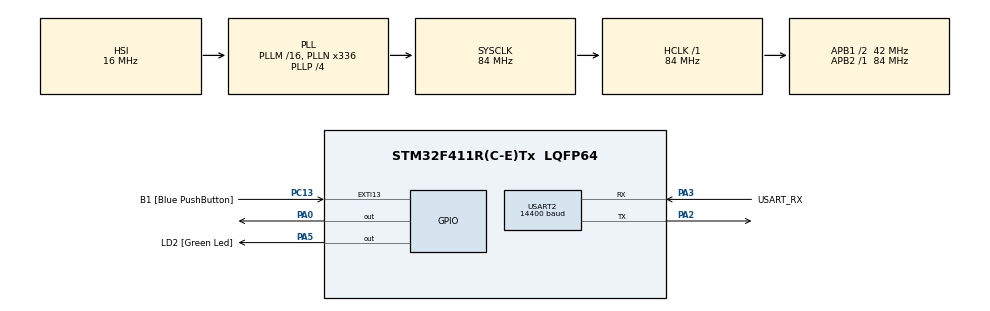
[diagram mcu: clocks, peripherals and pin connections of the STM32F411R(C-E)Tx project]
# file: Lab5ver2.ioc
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Mcu.Family=STM32F4
Mcu.Name=STM32F411R(C-E)Tx
Mcu.Package=LQFP64
NVIC.EXTI15_10_IRQn=true\:0\:0\:false\:false\:true\:true\:true\:true
NVIC.PriorityGroup=NVIC_PRIORITYGROUP_0
NVIC.USART2_IRQn=true\:0\:0\:false\:false\:true\:true\:true\:true
PA0-WKUP.Signal=GPIO_Output
PA13.GPIO_Label=TMS
PA13.Mode=Serial_Wire
PA13.Signal=SYS_JTMS-SWDIO
PA14.GPIO_Label=TCK
PA14.Mode=Serial_Wire
PA14.Signal=SYS_JTCK-SWCLK
PA2.Mode=Asynchronous
PA2.Signal=USART2_TX
PA3.GPIO_Label=USART_RX
PA3.Mode=Asynchronous
PA3.Signal=USART2_RX
PA5.GPIO_Label=LD2 [Green Led]
PA5.Signal=GPIO_Output
PB3.GPIO_Label=SWO
PB3.Signal=SYS_JTDO-SWO
PC13-ANTI_TAMP.GPIO_Label=B1 [Blue PushButton]
PC13-ANTI_TAMP.GPIO_ModeDefaultEXTI=GPIO_MODE_IT_RISING_FALLING
PC13-ANTI_TAMP.Signal=GPXTI13
PC14-OSC32_IN.Mode=LSE-External-Oscillator
PC14-OSC32_IN.Signal=RCC_OSC32_IN
PC15-OSC32_OUT.Mode=LSE-External-Oscillator
PC15-OSC32_OUT.Signal=RCC_OSC32_OUT
PH0\ -\ OSC_IN.Mode=HSE-External-Clock-Source
PH0\ -\ OSC_IN.Signal=RCC_OSC_IN
PH1\ -\ OSC_OUT.Mode=HSE-External-Clock-Source
PH1\ -\ OSC_OUT.Signal=RCC_OSC_OUT
ProjectManager.HeapSize=0x200
ProjectManager.StackSize=0x400
ProjectManager.TargetToolchain=STM32CubeIDE
RCC.48MHZClocksFreq_Value=84000000
RCC.AHBFreq_Value=84000000
RCC.APB1CLKDivider=RCC_HCLK_DIV2
RCC.APB1Freq_Value=42000000
RCC.APB1TimFreq_Value=84000000
RCC.APB2Freq_Value=84000000
RCC.APB2TimFreq_Value=84000000
RCC.CortexFreq_Value=84000000
RCC.FLatency-AdvancedSettings=FLASH_LATENCY_2
RCC.HCLKFreq_Value=84000000
RCC.HSE_VALUE=8000000
RCC.HSI_VALUE=16000000
RCC.PLLN=336
RCC.PLLP=RCC_PLLP_DIV4
RCC.SYSCLKFreq_VALUE=84000000
RCC.SYSCLKSource=RCC_SYSCLKSOURCE_PLLCLK
RCC.VCOOutputFreq_Value=336000000
USART2.BaudRate=14400
USART2.VirtualMode=VM_ASYNC
board=NUCLEO-F411RE

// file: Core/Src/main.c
/* USER CODE BEGIN Header */
/**
  ******************************************************************************
  * @file           : main.c
  * @brief          : Main program body
  ******************************************************************************
  * @attention
  *
  * Copyright (c) 2023 STMicroelectronics.
  * All rights reserved.
  *
  * This software is licensed under terms that can be found in the LICENSE file
  * in the root directory of this software component.
  * If no LICENSE file comes with this software, it is provided AS-IS.
  *
  ******************************************************************************
  */
/* USER CODE END Header */
#include "main.h"

/* USER CODE BEGIN Includes */
#include "stdio.h"
#include "string.h"
/* USER CODE END Includes */

UART_HandleTypeDef huart2;

/* USER CODE BEGIN PV */
uint8_t RxBuffer[20];
uint8_t TxBuffer[500];
int freq_value = 0;
int LEDStatus = 1;
int lala = 0;
enum  {
		 MainMenu,
		 LEDControl,
		 ButtonStatus
}state = MainMenu;
/* USER CODE END PV */

void SystemClock_Config(void);
static void MX_GPIO_Init(void);
static void MX_USART2_UART_Init(void);
/* USER CODE BEGIN PFP */
void DummyTask();
void UARTInterruptConfig();
/* USER CODE END PFP */

int main(void)
{

  /* MCU Configuration--------------------------------------------------------*/

  /* Reset of all peripherals, Initializes the Flash interface and the Systick. */
  HAL_Init();

  /* Configure the system clock */
  SystemClock_Config();

  /* Initialize all configured peripherals */
  MX_GPIO_Init();
  MX_USART2_UART_Init();
  /* USER CODE BEGIN 2 */
//  uint8_t text[] = "HELLO FIBO";
//  HAL_UART_Transmit(&huart2, text , 11, 10);
  UARTInterruptConfig();
  sprintf((char*)TxBuffer,"=======================================================\r\n"
		  "Welcome to LED and Button Control System\r\n"
		  "\r\n"
  							"Please Select these functions for selecting modes \r\n"
		  "\r\n"
  							"Press 0: LED Control mode \r\n"
  							"Press 1: Button status mode \r\n"
		  	  	  	  	  	"======================================================\r\n"
  							"\r\n");
  		HAL_UART_Transmit(&huart2, TxBuffer, strlen((char*)TxBuffer),300);

  /* USER CODE END 2 */

  /* Infinite loop */
  while (1)
  {

    /* USER CODE BEGIN 3 */
	  if (LEDStatus == 1){
		  DummyTask();
	  }
	  if (LEDStatus == 0){
	      HAL_GPIO_WritePin(LD2_GPIO_Port, LD2_Pin,0);
	  }

	  HAL_GPIO_TogglePin (GPIOA, GPIO_PIN_0);

  }

  /* USER CODE END 3 */
}

void SystemClock_Config(void)
{
  RCC_OscInitTypeDef RCC_OscInitStruct = {0};
  RCC_ClkInitTypeDef RCC_ClkInitStruct = {0};

  /** Configure the main internal regulator output voltage
  */
  __HAL_RCC_PWR_CLK_ENABLE();
  __HAL_PWR_VOLTAGESCALING_CONFIG(PWR_REGULATOR_VOLTAGE_SCALE1);

  /** Initializes the RCC Oscillators according to the specified parameters
  * in the RCC_OscInitTypeDef structure.
  */
  RCC_OscInitStruct.OscillatorType = RCC_OSCILLATORTYPE_HSI;
  RCC_OscInitStruct.HSIState = RCC_HSI_ON;
  RCC_OscInitStruct.HSICalibrationValue = RCC_HSICALIBRATION_DEFAULT;
  RCC_OscInitStruct.PLL.PLLState = RCC_PLL_ON;
  RCC_OscInitStruct.PLL.PLLSource = RCC_PLLSOURCE_HSI;
  RCC_OscInitStruct.PLL.PLLM = 16;
  RCC_OscInitStruct.PLL.PLLN = 336;
  RCC_OscInitStruct.PLL.PLLP = RCC_PLLP_DIV4;
  RCC_OscInitStruct.PLL.PLLQ = 4;
  if (HAL_RCC_OscConfig(&RCC_OscInitStruct) != HAL_OK)
  {
    Error_Handler();
  }

  /** Initializes the CPU, AHB and APB buses clocks
  */
  RCC_ClkInitStruct.ClockType = RCC_CLOCKTYPE_HCLK|RCC_CLOCKTYPE_SYSCLK
                              |RCC_CLOCKTYPE_PCLK1|RCC_CLOCKTYPE_PCLK2;
  RCC_ClkInitStruct.SYSCLKSource = RCC_SYSCLKSOURCE_PLLCLK;
  RCC_ClkInitStruct.AHBCLKDivider = RCC_SYSCLK_DIV1;
  RCC_ClkInitStruct.APB1CLKDivider = RCC_HCLK_DIV2;
  RCC_ClkInitStruct.APB2CLKDivider = RCC_HCLK_DIV1;

  if (HAL_RCC_ClockConfig(&RCC_ClkInitStruct, FLASH_LATENCY_2) != HAL_OK)
  {
    Error_Handler();
  }
}

static void MX_USART2_UART_Init(void)
{

  huart2.Instance = USART2;
  huart2.Init.BaudRate = 14400;
  huart2.Init.WordLength = UART_WORDLENGTH_8B;
  huart2.Init.StopBits = UART_STOPBITS_1;
  huart2.Init.Parity = UART_PARITY_NONE;
  huart2.Init.Mode = UART_MODE_TX_RX;
  huart2.Init.HwFlowCtl = UART_HWCONTROL_NONE;
  huart2.Init.OverSampling = UART_OVERSAMPLING_16;
  if (HAL_UART_Init(&huart2) != HAL_OK)
  {
    Error_Handler();
  }

}

static void MX_GPIO_Init(void)
{
  GPIO_InitTypeDef GPIO_InitStruct = {0};

  /* GPIO Ports Clock Enable */
  __HAL_RCC_GPIOC_CLK_ENABLE();
  __HAL_RCC_GPIOH_CLK_ENABLE();
  __HAL_RCC_GPIOA_CLK_ENABLE();
  __HAL_RCC_GPIOB_CLK_ENABLE();

  /*Configure GPIO pin Output Level */
  HAL_GPIO_WritePin(GPIOA, GPIO_PIN_0|LD2_Pin, GPIO_PIN_RESET);

  /*Configure GPIO pin : B1_Pin */
  GPIO_InitStruct.Pin = B1_Pin;
  GPIO_InitStruct.Mode = GPIO_MODE_IT_RISING_FALLING;
  GPIO_InitStruct.Pull = GPIO_NOPULL;
  HAL_GPIO_Init(B1_GPIO_Port, &GPIO_InitStruct);

  /*Configure GPIO pins : PA0 LD2_Pin */
  GPIO_InitStruct.Pin = GPIO_PIN_0|LD2_Pin;
  GPIO_InitStruct.Mode = GPIO_MODE_OUTPUT_PP;
  GPIO_InitStruct.Pull = GPIO_NOPULL;
  GPIO_InitStruct.Speed = GPIO_SPEED_FREQ_LOW;
  HAL_GPIO_Init(GPIOA, &GPIO_InitStruct);

  /* EXTI interrupt init*/
  HAL_NVIC_SetPriority(EXTI15_10_IRQn, 0, 0);
  HAL_NVIC_EnableIRQ(EXTI15_10_IRQn);

}

/* USER CODE BEGIN 4 */
void HAL_GPIO_EXTI_Callback(uint16_t GPIO_Pin)
{
	if(GPIO_Pin == GPIO_PIN_13){

		if(state == ButtonStatus && (HAL_GPIO_ReadPin(GPIOC, GPIO_PIN_13)) == 0)
		{
		sprintf((char*)TxBuffer,"----------------------------------------\r\n"
				"\r\n"
				"Status: Button is pressed \r\n"
				"\r\n"
				"----------------------------------------\r\n"
				"\r\n");
		HAL_UART_Transmit_IT(&huart2, TxBuffer, strlen((char*)TxBuffer));
		}
		if(state == ButtonStatus && (HAL_GPIO_ReadPin(GPIOC, GPIO_PIN_13)) == 1)
		{
		sprintf((char*)TxBuffer,"----------------------------------------\r\n"
				"\r\n"
				"Status: Button is not pressed \r\n"
				"\r\n"
				"----------------------------------------\r\n"
				"\r\n");

		HAL_UART_Transmit_IT(&huart2, TxBuffer, strlen((char*)TxBuffer));
		}
	}
}
void UARTInterruptConfig(){

	//start UART in interrupt mode
	HAL_UART_Receive_IT(&huart2, RxBuffer, 1);
}

void HAL_UART_RxCpltCallback(UART_HandleTypeDef *huart){
//	enum  {
//			 MainMenu,
//			 LEDControl,
//			 ButtonStatus
//	}state = MainMenu;
	if(huart == &huart2){

		// (for only string) Add String stop symbol \0 to end string
		RxBuffer[1] = '\0';
		//return receive char
		switch (state) {
		   case MainMenu:
				if(RxBuffer[0] == '0')
				{
					sprintf((char*)TxBuffer, "----------------------------------------\r\n"
							"\r\n"
							"Welcome to LED Control mode \r\n"
							"\r\n"
							"Please Select the function(s) \r\n"
							"\r\n"
							"Press a: Speed Up +1Hz \r\n"
							"Press s: Speed Down -1Hz \r\n"
							"Press d: On/Off \r\n"
							"Press x: back to the main menu \r\n"
							"\r\n"
							"----------------------------------------\r\n"
							" \r\n");
					HAL_UART_Transmit_IT(&huart2, TxBuffer, strlen((char*)TxBuffer));
					state = LEDControl;
				}
				if(RxBuffer[0] == '1')
				{
					sprintf((char*)TxBuffer,"----------------------------------------\r\n"
							"\r\n"
							"Welcome to Button status mode \r\n"
							"\r\n"
							"Please Select the function(s) \r\n"
							"\r\n"
							"Press x: back to the main menu \r\n"
							"\r\n"
							"----------------------------------------\r\n"
							" \r\n");
					HAL_UART_Transmit_IT(&huart2, TxBuffer, strlen((char*)TxBuffer));
					state = ButtonStatus;
				}
				if(RxBuffer[0] != '0' && RxBuffer[0] != '1'){
					sprintf((char*)TxBuffer, "****************************************\r\n"
							"\r\n"
							"Error! This function button is unavailable! \r\n"
							"Please check your input before enter. \r\n"
							"\r\n"
							"****************************************\r\n"
							"\r\n");

					HAL_UART_Transmit_IT(&huart2, TxBuffer, strlen((char*)TxBuffer));
				}
					break;
		   case LEDControl:
		  				if(RxBuffer[0] == 'a')
		  				{
		  					freq_value = freq_value + 1;
		  					if (LEDStatus == 0){
		  						sprintf((char*)TxBuffer,"****************************************\r\n"
		  								"\r\n"
		  								"LED is off, Please turn on the LED! \r\n"
		  								"\r\n"
										"****************************************\r\n"
										"\r\n")	;
		  						HAL_UART_Transmit_IT(&huart2, TxBuffer, strlen((char*)TxBuffer));
		  					}
		  					if (LEDStatus == 1){
		  					sprintf((char*)TxBuffer,"----------------------------------------\r\n"
		  							"\r\n"
		  							"a was pressed: Speed Up +1= %d Hz \r\n"
		  							"\r\n"
		  							"----------------------------------------\r\n"
		  							"\r\n", freq_value);
		  					HAL_UART_Transmit_IT(&huart2, TxBuffer, strlen((char*)TxBuffer));
		  					}
		  				}
		  				if(RxBuffer[0] == 's')
		  				{
		  					freq_value = freq_value - 1;
		  					if (LEDStatus == 0){
		  						sprintf((char*)TxBuffer,"****************************************\r\n"
		  								"\r\n"
		  								"LED is off, Please turn on the LED! \r\n"
		  								"\r\n"
		  								"****************************************\r\n");
		  						HAL_UART_Transmit_IT(&huart2, TxBuffer, strlen((char*)TxBuffer));
		  					}
		  					if (LEDStatus == 1){
								if (freq_value < 0 ){
									sprintf((char*)TxBuffer,"****************************************\r\n"
											"\r\n"
											"Invalid! The LED frequency must not less than 0 Hz \r\n"
											"****************************************\r\n"
											"\r\n");

									HAL_UART_Transmit_IT(&huart2, TxBuffer, strlen((char*)TxBuffer));
									freq_value = 0;
								}
								else{
									sprintf((char*)TxBuffer,"----------------------------------------\r\n"
											"\r\n"
											"s was pressed: Speed Down -1= %d Hz \r\n"
											"\r\n"
											"----------------------------------------\r\n"
											"\r\n", freq_value);
									HAL_UART_Transmit_IT(&huart2, TxBuffer, strlen((char*)TxBuffer));
								}
		  					}
		  				}
			  			if(RxBuffer[0] == 'd'){

			  					if (LEDStatus == 1)
			  				{
			  						LEDStatus = 0;
			  						lala = 1;
				  				sprintf((char*)TxBuffer,"----------------------------------------\r\n"
				  						"\r\n"
				  						"d was pressed: LED is off! \r\n"
				  						"\r\n"
				  						"----------------------------------------\r\n"
				  						"\r\n");
				  				HAL_UART_Transmit_IT(&huart2, TxBuffer, strlen((char*)TxBuffer));
			  				}
			  					else {
						  			LEDStatus = 1;
						  			lala = 2;
						  		sprintf((char*)TxBuffer,"----------------------------------------\r\n"
						  				"\r\n"
						  				"d was pressed: LED is on! \r\n"
						  				"\r\n"
						  				"----------------------------------------\r\n"
						  				"\r\n");
						  		HAL_UART_Transmit_IT(&huart2, TxBuffer, strlen((char*)TxBuffer));
						  					}
			  				}
				  		if(RxBuffer[0] == 'x'){
								sprintf((char*)TxBuffer,"=========================================================\r\n"
										"\r\n"
										"Welcome to LED and Button Control System \r\n"
										"\r\n"
			  							"Please Select these functions for selecting modes \r\n"
										"\r\n"
			  							"Press 0: LED Control mode \r\n"
			  							"Press 1: Button status mode \r\n"
										"\r\n"
										"=========================================================\r\n"
			  							"\r\n");
				  				HAL_UART_Transmit_IT(&huart2, TxBuffer, strlen((char*)TxBuffer));
				  				state = MainMenu;
			  				}
				  		if(RxBuffer[0] != 'x' && RxBuffer[0] != 'a' && RxBuffer[0] != 'd' && RxBuffer[0] != 's'){
				  					sprintf((char*)TxBuffer,"****************************************\r\n"
				  							"\r\n"
				  							"Error! This function button is unavailable! \r\n"
				  							"Please check your input before enter. \r\n"
				  							"\r\n"
				  							"****************************************\r\n"
				  							"\r\n");
				  					HAL_UART_Transmit_IT(&huart2, TxBuffer, strlen((char*)TxBuffer));
				  					}
			  			break;
		   case ButtonStatus:
		  				if(RxBuffer[0] == 'x')
		  				{
		  					sprintf((char*)TxBuffer,"=========================================================\r\n"
		  							"\r\n"
		  							"Welcome to LED and Button Control System \r\n"
		  							"Please Select these functions for selecting modes \r\n"
		  							"\r\n"
		  							"Press 0: LED Control mode \r\n"
		  							"Press 1: Button status mode \r\n"
		  							"\r\n"
		  							"=========================================================\r\n"
		  							"\r\n");
		  					HAL_UART_Transmit_IT(&huart2, TxBuffer, strlen((char*)TxBuffer));
		  				}
					  	if(RxBuffer[0] != 'x'){
					  		sprintf((char*)TxBuffer,"****************************************\r\n"
					  				"\r\n"
					  				"Error! This function button is unavailable! \r\n"
					  				"Please check your input before enter. \r\n"
					  				"\r\n"
					  				"****************************************\r\n"
					  				"\r\n");
					  		HAL_UART_Transmit_IT(&huart2, TxBuffer, strlen((char*)TxBuffer));
					  					}
		  					RxBuffer[0] = 0;
		  					state = MainMenu;
		  					break;
		  				}

			}

		HAL_UART_Receive_IT(&huart2, RxBuffer, 1);
		//recall Receive
	}

void DummyTask(){
	static uint32_t timestamp = 0;
	if (HAL_GetTick()>=timestamp){
		timestamp = HAL_GetTick() + (1000/(freq_value * 2)); // divide 2 because it's a toggle
		HAL_GPIO_TogglePin(LD2_GPIO_Port, LD2_Pin);
	}
}
/* USER CODE END 4 */

void Error_Handler(void)
{
  __disable_irq();
  while (1)
  {
  }
}
